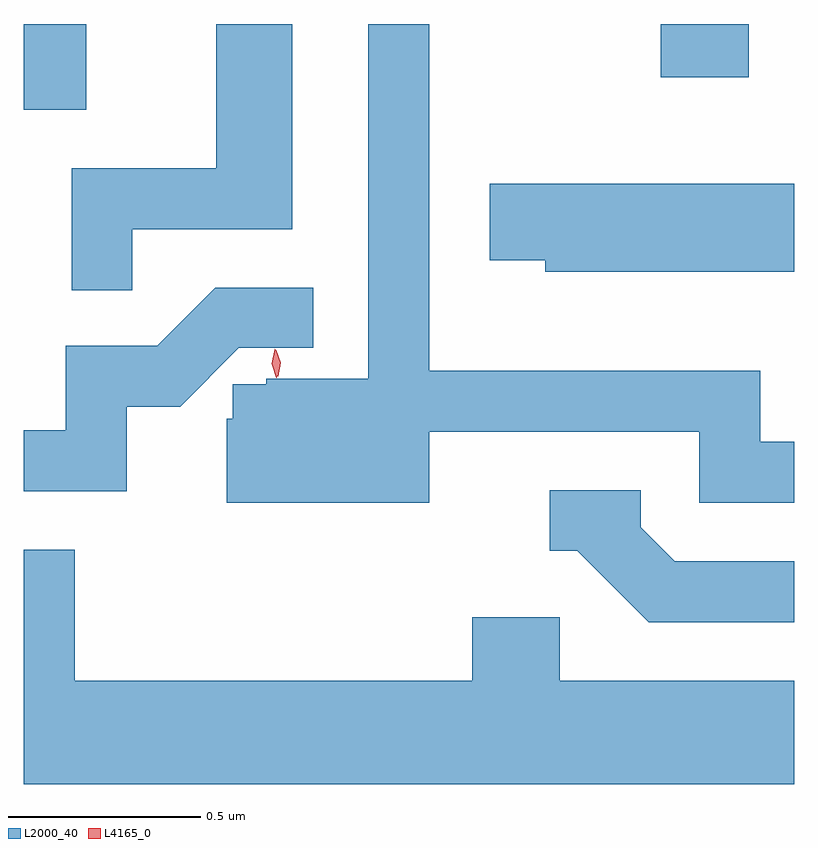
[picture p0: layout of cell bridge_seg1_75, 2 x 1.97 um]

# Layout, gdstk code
import gdstk
lib = gdstk.Library(unit=1e-6, precision=1e-09)
def R(c, l, rs):  # rectangles x0, y0, x1, y1
    for r in rs: c.add(gdstk.rectangle(r[:2], r[2:], *l))
def P(c, l, *ps):  # polygons
    for p in ps: c.add(gdstk.Polygon(p, *l))
L2000_40 = (2000, 40)
L4165_0 = (4165, 0)

bridge_seg1_75 = lib.new_cell('bridge_seg1_75')
R(bridge_seg1_75, L2000_40, [(1773.977,947.946,1774.139,948.169), (1775.631,948.031,1775.859,948.169)])
P(bridge_seg1_75, L2000_40, [(1775.029,947.111),(1775.731,947.111),(1775.731,946.926),(1775.977,946.926),(1775.977,947.084),(1775.889,947.084),(1775.889,947.269),(1775.029,947.269),(1775.029,948.169),(1774.871,948.169),(1774.871,947.248),(1774.607,947.248),(1774.607,947.234),(1774.52,947.234),(1774.52,947.144),(1774.504,947.144),(1774.504,946.926),(1775.029,946.926)],
  [(1774.259,947.636),(1774.674,947.636),(1774.674,948.169),(1774.476,948.169),(1774.476,947.794),(1774.101,947.794),(1774.101,947.478),(1774.259,947.478)],
  [(1775.977,947.754),(1775.186,947.754),(1775.186,947.556),(1775.331,947.556),(1775.331,947.526),(1775.977,947.526)],
  [(1774.244,947.176),(1774.383,947.176),(1774.535,947.329),(1774.728,947.329),(1774.728,947.484),(1774.474,947.484),(1774.324,947.334),(1774.086,947.334),(1774.086,947.114),(1773.977,947.114),(1773.977,946.956),(1774.244,946.956)],
  [(1775.977,946.774),(1775.667,946.774),(1775.579,946.862),(1775.579,946.959),(1775.343,946.959),(1775.343,946.801),(1775.414,946.801),(1775.599,946.616),(1775.977,946.616)],
  [(1775.977,946.464),(1775.369,946.464),(1775.369,946.629),(1775.141,946.629),(1775.141,946.464),(1774.109,946.464),(1774.109,946.804),(1773.977,946.804),(1773.977,946.196),(1775.977,946.196)])
P(bridge_seg1_75, L4165_0, [(1774.636,947.254),(1774.636,947.254),(1774.624,947.287),(1774.631,947.322),(1774.632,947.322),(1774.632,947.322),(1774.644,947.289),(1774.637,947.254)],
  [(1774.632,947.251),(1774.621,947.287),(1774.629,947.324),(1774.629,947.325),(1774.63,947.324),(1774.641,947.288),(1774.634,947.251),(1774.633,947.251)])

lib.write_gds('bridge_seg1_75.gds')
